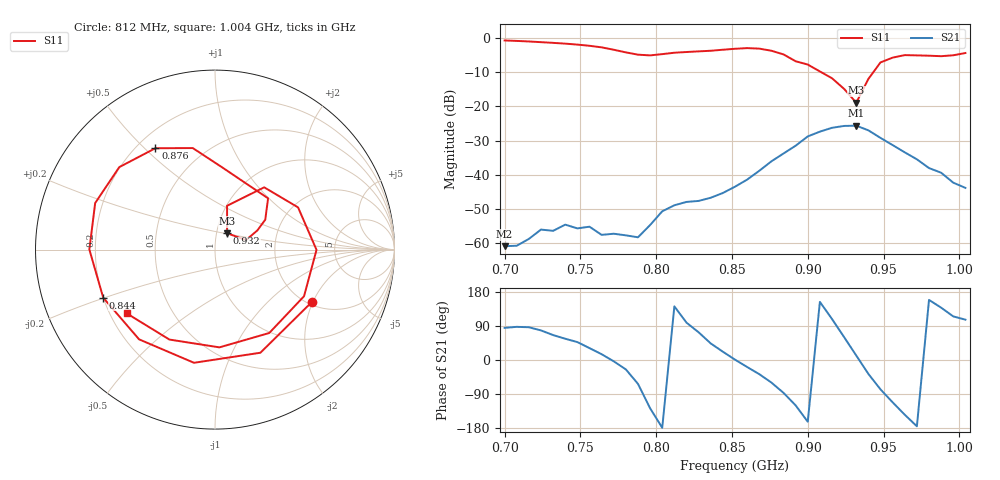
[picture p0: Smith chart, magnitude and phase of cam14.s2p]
# Hz S RI R 50
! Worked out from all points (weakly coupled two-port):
!   39 points, 700 MHz to 1.004 GHz, reference 50 ohm
!   highest |S21| = -25.64 dB at 932 MHz (marker M1); lowest = -61.0 dB at 700 MHz (marker M2)
!   lowest |S11| = -18.9 dB at 932 MHz (marker M3), VSWR 1.26, Z = 56.2 + j10.4 ohm
!   |S11| at or under -10 dB: 909 MHz to 943.2 MHz (34.15 MHz wide, 3.69 % of centre)
!   S12 and S22 are empty: the file has one direction only
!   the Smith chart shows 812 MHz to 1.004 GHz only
!   S11 on the Smith chart (normalised r, x): 812 MHz: 2.08, -1.96; 844 MHz: 0.20, -0.20; 876 MHz: 0.27, +0.54; 932 MHz: 1.12, +0.21; 1.004 GHz: 0.27, -0.30
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7e8  0.7633 0.5261  8.09e-05 0.000892  0 0  0 0
7.24e8  0.835 -0.2615  0.000324 0.00154  0 0  0 0
7.4e8  0.4465 -0.703  0.00103 0.00154  0 0  0 0
7.56e8  -0.1944 -0.7499  0.00148 0.000901  0 0  0 0
7.72e8  -0.651 -0.1884  0.00136 -8.27e-05  0 0  0 0
7.8e8  -0.5759 0.2292  0.00117 -0.000544  0 0  0 0
7.88e8  -0.2252 0.5277  0.000549 -0.00108  0 0  0 0
7.96e8  0.2534 0.4996  -0.00111 -0.00145  0 0  0 0
8.04e8  0.5652 0.1484  -0.00291 -5.81e-05  0 0  0 0
8.12e8  0.5379 -0.2937  -0.00279 0.00222  0 0  0 0
8.28e8  -0.117 -0.6306  0.0012 0.00395  0 0  0 0
8.44e8  -0.6228 -0.268  0.005 0.00201  0 0  0 0
8.52e8  -0.7 0.000753  0.00666 0.000105  0 0  0 0
8.76e8  -0.3321 0.5648  0.00797 -0.0135  0 0  0 0
9e8  0.2957 0.2857  -0.0348 -0.0107  0 0  0 0
9.08e8  0.28 0.1666  -0.0382 0.0192  0 0  0 0
9.32e8  0.0675 0.0913  0.0512 0.0107  0 0  0 0
9.48e8  0.274 0.347  0.00744 -0.0338  0 0  0 0
9.56e8  0.4627 0.2353  -0.01 -0.0252  0 0  0 0
9.64e8  0.5656 -0.00141  -0.0173 -0.0123  0 0  0 0
9.8e8  0.3023 -0.4646  -0.0116 0.00458  0 0  0 0
1.004e9  -0.4925 -0.3549  -0.00181 0.00615  0 0  0 0
